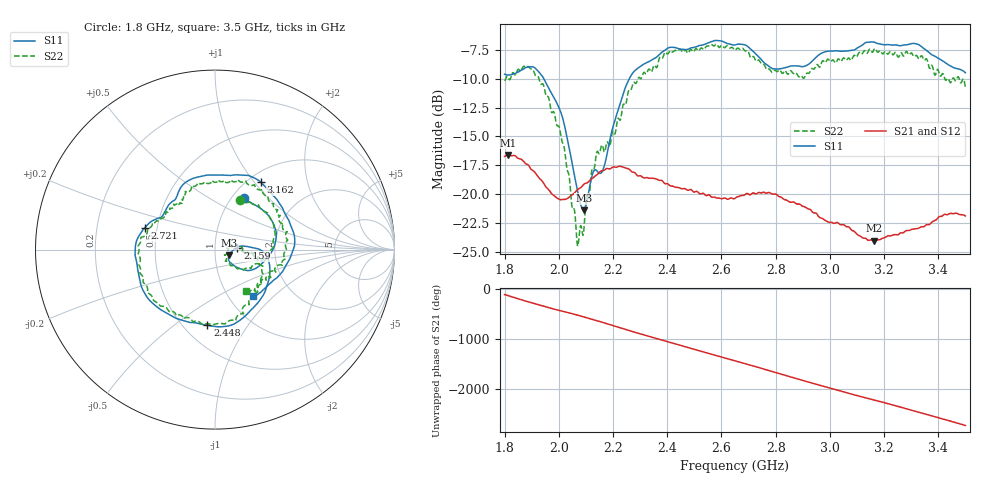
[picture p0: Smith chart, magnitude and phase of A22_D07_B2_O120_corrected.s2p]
! Created with skrf 1.9.0 (http://scikit-rf.org).
# Hz S RI R 50.0
!freq ReS11 ImS11 ReS21 ImS21 ReS12 ImS12 ReS22 ImS22
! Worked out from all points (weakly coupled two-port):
!   1601 points, 1.8 GHz to 3.5 GHz, reference 50 ohm
!   highest |S21| = -16.61 dB at 1.812 GHz (marker M1); lowest = -24.0 dB at 3.163 GHz (marker M2)
!   lowest |S11| = -21.4 dB at 2.092 GHz (marker M3), VSWR 1.19, Z = 58.5 - j3.63 ohm
!   |S11| at or under -10 dB: 1.944 GHz to 2.26 GHz (315.9 MHz wide, 15 % of centre)
!   |S22| runs from -24.5 to -7.0 dB; largest |S21 - S12| = 0.0028
!   S11 on the Smith chart (normalised r, x): 1.8 GHz: 1.13, +0.73; 2.159 GHz: 1.28, +0.02; 2.448 GHz: 0.65, -0.67; 2.721 GHz: 0.43, +0.12; 3.162 GHz: 1.14, +1.08; 3.5 GHz: 1.29, -0.75
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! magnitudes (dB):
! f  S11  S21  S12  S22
! 1.8 GHz  -9.6  -16.7  -16.7  -10.2
! 1.812 GHz  -9.7  -16.6  -16.6  -9.8
! 1.883 GHz  -9.0  -17.4  -17.4  -9.0
! 1.942 GHz  -9.9  -19.0  -19.0  -10.5
! 2.013 GHz  -13.3  -20.4  -20.5  -15.5
! 2.067 GHz  -19.4  -19.7  -19.7  -24.0
! 2.084 GHz  -21.1  -19.4  -19.3  -22.9
! 2.092 GHz  -21.4  -19.2  -19.2  -23.2
! 2.128 GHz  -18.0  -18.5  -18.5  -17.8
! 2.159 GHz  -18.1  -18.0  -17.9  -15.7
! 2.257 GHz  -10.2  -17.8  -17.8  -11.1
! 2.367 GHz  -8.0  -18.8  -18.7  -8.5
! 2.448 GHz  -7.5  -19.5  -19.5  -7.5
! 2.65 GHz  -7.1  -20.3  -20.3  -7.6
! 2.721 GHz  -7.7  -19.9  -19.8  -8.2
! 2.795 GHz  -9.2  -20.0  -20.0  -9.3
! 2.934 GHz  -8.5  -21.5  -21.5  -9.1
! 3.162 GHz  -6.8  -24.0  -24.0  -7.5
! 3.163 GHz  -6.8  -24.0  -24.0  -7.5
! 3.217 GHz  -7.1  -23.6  -23.6  -7.8
! 3.324 GHz  -7.0  -23.0  -22.9  -8.1
! 3.5 GHz  -9.5  -21.9  -21.9  -10.7
